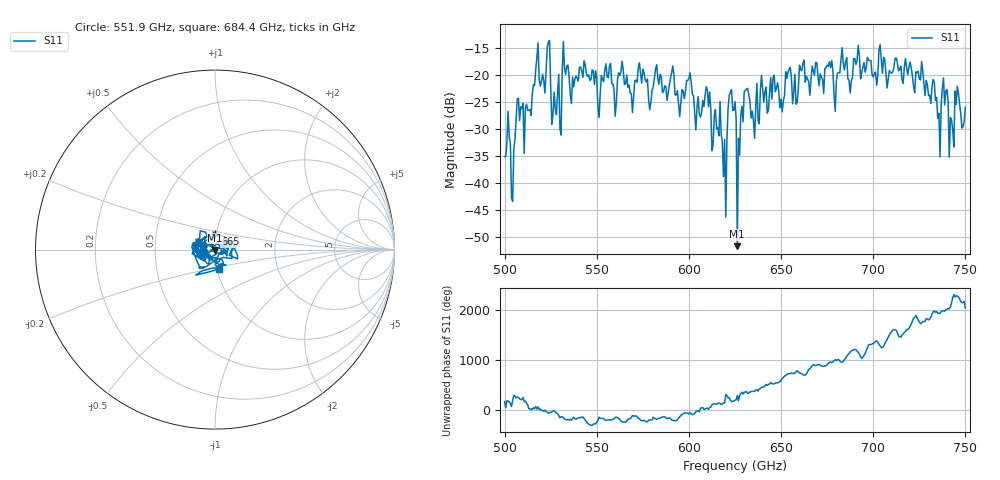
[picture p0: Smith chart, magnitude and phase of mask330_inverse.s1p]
!Created with skrf (http://scikit-rf.org).
# GHz S MA R 50.0
!freq magS11 angS11
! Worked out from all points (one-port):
!   401 points, 500 GHz to 750 GHz, reference 50 ohm
!   lowest |S11| = -51.6 dB at 626.2 GHz (marker M1), VSWR 1.01, Z = 50.1 - j0.245 ohm
!   |S11| at or under -10 dB: start of sweep to end of sweep
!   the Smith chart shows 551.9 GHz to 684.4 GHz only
!   S11 on the Smith chart (normalised r, x): 551.9 GHz: 0.88, -0.03; 665 GHz: 0.99, +0.17; 684.4 GHz: 1.02, -0.22
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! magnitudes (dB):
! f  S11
! 500 GHz  -35.1
! 504.4 GHz  -43.4
! 507.5 GHz  -24.4
! 511.9 GHz  -25.4
! 516.9 GHz  -19.1
! 523.8 GHz  -14.0
! 526.9 GHz  -23.2
! 531.2 GHz  -19.4
! 551.9 GHz  -23.5
! 562.5 GHz  -20.2
! 593.8 GHz  -23.0
! 610 GHz  -22.8
! 619.4 GHz  -31.9
! 623.1 GHz  -22.8
! 625 GHz  -25.0
! 626.2 GHz  -51.6
! 631.2 GHz  -22.7
! 635 GHz  -28.4
! 656.2 GHz  -25.4
! 665 GHz  -21.3
! 684.4 GHz  -19.1
! 687.5 GHz  -23.4
! 718.8 GHz  -20.0
! 735 GHz  -28.1
! 738.8 GHz  -25.6
! 742.5 GHz  -28.4
! 745.6 GHz  -22.1
! 750 GHz  -26.0
